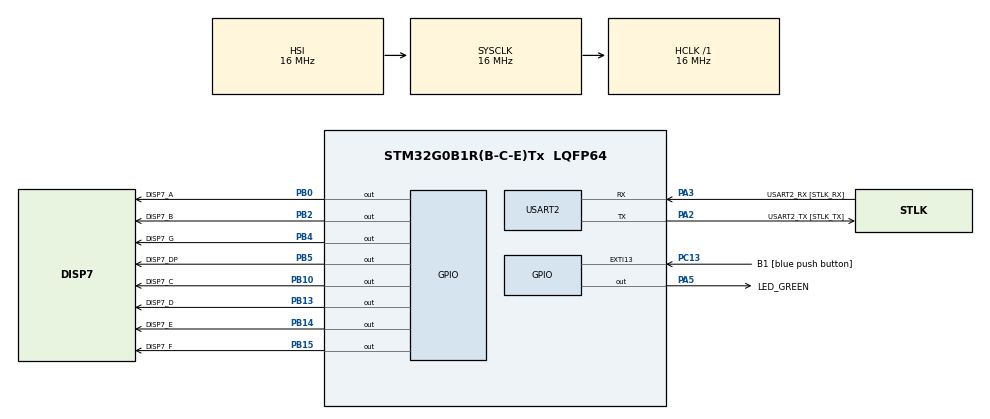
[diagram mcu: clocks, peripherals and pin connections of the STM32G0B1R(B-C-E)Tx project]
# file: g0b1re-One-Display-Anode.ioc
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Mcu.Family=STM32G0
Mcu.Name=STM32G0B1R(B-C-E)Tx
Mcu.Package=LQFP64
PA13.GPIO_Label=TMS
PA13.Mode=Serial_Wire
PA13.Signal=SYS_SWDIO
PA14-BOOT0.GPIO_Label=TCK
PA14-BOOT0.Mode=Serial_Wire
PA14-BOOT0.Signal=SYS_SWCLK
PA2.GPIO_Label=USART2_TX [STLK_TX]
PA2.Mode=Asynchronous
PA2.Signal=USART2_TX
PA3.GPIO_Label=USART2_RX [STLK_RX]
PA3.Mode=Asynchronous
PA3.Signal=USART2_RX
PA5.GPIO_Label=LED_GREEN
PA5.GPIO_Speed=GPIO_SPEED_FREQ_HIGH
PA5.Signal=GPIO_Output
PB0.GPIO_Label=DISP7_A
PB0.GPIO_ModeDefaultOutputPP=GPIO_MODE_OUTPUT_PP
PB0.GPIO_Speed=GPIO_SPEED_FREQ_MEDIUM
PB0.PinState=GPIO_PIN_SET
PB0.Signal=GPIO_Output
PB10.GPIO_Label=DISP7_C
PB10.GPIO_ModeDefaultOutputPP=GPIO_MODE_OUTPUT_PP
PB10.GPIO_Speed=GPIO_SPEED_FREQ_MEDIUM
PB10.PinState=GPIO_PIN_SET
PB10.Signal=GPIO_Output
PB13.GPIO_Label=DISP7_D
PB13.GPIO_ModeDefaultOutputPP=GPIO_MODE_OUTPUT_PP
PB13.GPIO_Speed=GPIO_SPEED_FREQ_MEDIUM
PB13.PinState=GPIO_PIN_SET
PB13.Signal=GPIO_Output
PB14.GPIO_Label=DISP7_E
PB14.GPIO_ModeDefaultOutputPP=GPIO_MODE_OUTPUT_PP
PB14.GPIO_Speed=GPIO_SPEED_FREQ_MEDIUM
PB14.PinState=GPIO_PIN_SET
PB14.Signal=GPIO_Output
PB15.GPIO_Label=DISP7_F
PB15.GPIO_ModeDefaultOutputPP=GPIO_MODE_OUTPUT_PP
PB15.GPIO_Speed=GPIO_SPEED_FREQ_MEDIUM
PB15.PinState=GPIO_PIN_SET
PB15.Signal=GPIO_Output
PB2.GPIO_Label=DISP7_B
PB2.GPIO_ModeDefaultOutputPP=GPIO_MODE_OUTPUT_PP
PB2.GPIO_Speed=GPIO_SPEED_FREQ_MEDIUM
PB2.PinState=GPIO_PIN_SET
PB2.Signal=GPIO_Output
PB4.GPIO_Label=DISP7_G
PB4.GPIO_ModeDefaultOutputPP=GPIO_MODE_OUTPUT_PP
PB4.GPIO_Speed=GPIO_SPEED_FREQ_MEDIUM
PB4.PinState=GPIO_PIN_SET
PB4.Signal=GPIO_Output
PB5.GPIO_Label=DISP7_DP
PB5.GPIO_ModeDefaultOutputPP=GPIO_MODE_OUTPUT_PP
PB5.GPIO_Speed=GPIO_SPEED_FREQ_MEDIUM
PB5.PinState=GPIO_PIN_SET
PB5.Signal=GPIO_Output
PC13.GPIO_Label=B1 [blue push button]
PC13.Signal=GPXTI13
PC14-OSC32_IN\ (PC14).Mode=LSE-External-Oscillator
PC14-OSC32_IN\ (PC14).Signal=RCC_OSC32_IN
PC15-OSC32_OUT\ (PC15).Mode=LSE-External-Oscillator
PC15-OSC32_OUT\ (PC15).Signal=RCC_OSC32_OUT
PF0-OSC_IN\ (PF0).GPIO_Label=MCO
PF0-OSC_IN\ (PF0).Mode=HSE-External-Clock-Source
PF0-OSC_IN\ (PF0).Signal=RCC_OSC_IN
ProjectManager.HeapSize=0x200
ProjectManager.StackSize=0x400
ProjectManager.TargetToolchain=STM32CubeIDE
RCC.AHBFreq_Value=16000000
RCC.CortexFreq_Value=16000000
RCC.EXTERNAL_CLOCK_VALUE=12288000
RCC.HCLKFreq_Value=16000000
RCC.HSE_VALUE=8000000
RCC.HSI48_VALUE=48000000
RCC.HSI_VALUE=16000000
RCC.SYSCLKFreq_VALUE=16000000
RCC.USBFreq_Value=48000000
RCC.VCOOutputFreq_Value=128000000
USART2.VirtualMode-Asynchronous=VM_ASYNC
board=NUCLEO-G0B1RE

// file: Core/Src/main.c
/* USER CODE BEGIN Header */
/**
  ******************************************************************************
  * @file           : main.c
  * @brief          : Main program body
  ******************************************************************************
  * @attention
  *
  * Copyright (c) 2025 STMicroelectronics.
  * All rights reserved.
  *
  * This software is licensed under terms that can be found in the LICENSE file
  * in the root directory of this software component.
  * If no LICENSE file comes with this software, it is provided AS-IS.
  *
  ******************************************************************************
  */
/* USER CODE END Header */
#include "main.h"

/* USER CODE BEGIN Includes */
#include "disp7.h"
/* USER CODE END Includes */

/* USER CODE BEGIN PD */
#define DISP7_TEST_STRING
/* USER CODE END PD */

UART_HandleTypeDef huart2;

/* USER CODE BEGIN PV */
disp7_t Disp7 = {0};
/* USER CODE END PV */

void SystemClock_Config(void);
static void MX_GPIO_Init(void);
static void MX_USART2_UART_Init(void);

/* USER CODE BEGIN 0 */
void Disp7_Write_Pin(disp7_pins_e Pin, uint8_t Value){
	switch(Pin){
	case 	DISP7_PIN_A:
		HAL_GPIO_WritePin(DISP7_A_GPIO_Port, DISP7_A_Pin, Value);
		break;
	case	DISP7_PIN_B:
		HAL_GPIO_WritePin(DISP7_B_GPIO_Port, DISP7_B_Pin, Value);
		break;
	case	DISP7_PIN_C:
		HAL_GPIO_WritePin(DISP7_C_GPIO_Port, DISP7_C_Pin, Value);
		break;
	case	DISP7_PIN_D:
		HAL_GPIO_WritePin(DISP7_D_GPIO_Port, DISP7_D_Pin, Value);
		break;
	case	DISP7_PIN_E:
		HAL_GPIO_WritePin(DISP7_E_GPIO_Port, DISP7_E_Pin, Value);
		break;
	case	DISP7_PIN_F:
		HAL_GPIO_WritePin(DISP7_F_GPIO_Port, DISP7_F_Pin, Value);
		break;
	case	DISP7_PIN_G:
		HAL_GPIO_WritePin(DISP7_G_GPIO_Port, DISP7_G_Pin, Value);
		break;
	case	DISP7_PIN_dp:
		HAL_GPIO_WritePin(DISP7_DP_GPIO_Port, DISP7_DP_Pin, Value);
		break;
	default:

		break;
	}
}
/* USER CODE END 0 */

int main(void)
{

  /* USER CODE BEGIN 1 */
	disp7_params_t Disp7Params;

#ifdef DISP7_TEST_STRING
	char CharToShow = '0';
#else
	uint8_t ValueToShow = 0;
#endif
  /* USER CODE END 1 */

  /* MCU Configuration--------------------------------------------------------*/

  /* Reset of all peripherals, Initializes the Flash interface and the Systick. */
  HAL_Init();

  /* Configure the system clock */
  SystemClock_Config();

  /* Initialize all configured peripherals */
  MX_GPIO_Init();
  MX_USART2_UART_Init();
  /* USER CODE BEGIN 2 */
  Disp7Params.WriteToPinFxn = Disp7_Write_Pin;
  Disp7Params.eType = DISP7_COMMON_ANODE;

  disp7_init(&Disp7, &Disp7Params);
  /* USER CODE END 2 */

  /* Infinite loop */
  /* USER CODE BEGIN WHILE */
  while (1)
  {
#ifdef DISP7_TEST_STRING
	  disp7_print_number_from_char(&Disp7, CharToShow);
	  if (CharToShow % 2){
		  disp7_print_number_from_char(&Disp7, '.');
	  }
	  CharToShow++;
	  if (CharToShow > '9'){
		  CharToShow = '0';
	  }
	  HAL_Delay(500);
#else
	  disp7_print_number(&Disp7, ValueToShow, ValueToShow % 2);
	  // We test the case where a number is not defined, to clear the display
	  ValueToShow = (ValueToShow + 1) % 0x11;
	  HAL_Delay(500);
#endif
    /* USER CODE END WHILE */

  }
}

void SystemClock_Config(void)
{
  RCC_OscInitTypeDef RCC_OscInitStruct = {0};
  RCC_ClkInitTypeDef RCC_ClkInitStruct = {0};

  /** Configure the main internal regulator output voltage
  */
  HAL_PWREx_ControlVoltageScaling(PWR_REGULATOR_VOLTAGE_SCALE1);

  /** Initializes the RCC Oscillators according to the specified parameters
  * in the RCC_OscInitTypeDef structure.
  */
  RCC_OscInitStruct.OscillatorType = RCC_OSCILLATORTYPE_HSI;
  RCC_OscInitStruct.HSIState = RCC_HSI_ON;
  RCC_OscInitStruct.HSIDiv = RCC_HSI_DIV1;
  RCC_OscInitStruct.HSICalibrationValue = RCC_HSICALIBRATION_DEFAULT;
  RCC_OscInitStruct.PLL.PLLState = RCC_PLL_NONE;
  if (HAL_RCC_OscConfig(&RCC_OscInitStruct) != HAL_OK)
  {
    Error_Handler();
  }

  /** Initializes the CPU, AHB and APB buses clocks
  */
  RCC_ClkInitStruct.ClockType = RCC_CLOCKTYPE_HCLK|RCC_CLOCKTYPE_SYSCLK
                              |RCC_CLOCKTYPE_PCLK1;
  RCC_ClkInitStruct.SYSCLKSource = RCC_SYSCLKSOURCE_HSI;
  RCC_ClkInitStruct.AHBCLKDivider = RCC_SYSCLK_DIV1;
  RCC_ClkInitStruct.APB1CLKDivider = RCC_HCLK_DIV1;

  if (HAL_RCC_ClockConfig(&RCC_ClkInitStruct, FLASH_LATENCY_0) != HAL_OK)
  {
    Error_Handler();
  }
}

static void MX_USART2_UART_Init(void)
{

  huart2.Instance = USART2;
  huart2.Init.BaudRate = 115200;
  huart2.Init.WordLength = UART_WORDLENGTH_8B;
  huart2.Init.StopBits = UART_STOPBITS_1;
  huart2.Init.Parity = UART_PARITY_NONE;
  huart2.Init.Mode = UART_MODE_TX_RX;
  huart2.Init.HwFlowCtl = UART_HWCONTROL_NONE;
  huart2.Init.OverSampling = UART_OVERSAMPLING_16;
  huart2.Init.OneBitSampling = UART_ONE_BIT_SAMPLE_DISABLE;
  huart2.Init.ClockPrescaler = UART_PRESCALER_DIV1;
  huart2.AdvancedInit.AdvFeatureInit = UART_ADVFEATURE_NO_INIT;
  if (HAL_UART_Init(&huart2) != HAL_OK)
  {
    Error_Handler();
  }
  if (HAL_UARTEx_SetTxFifoThreshold(&huart2, UART_TXFIFO_THRESHOLD_1_8) != HAL_OK)
  {
    Error_Handler();
  }
  if (HAL_UARTEx_SetRxFifoThreshold(&huart2, UART_RXFIFO_THRESHOLD_1_8) != HAL_OK)
  {
    Error_Handler();
  }
  if (HAL_UARTEx_DisableFifoMode(&huart2) != HAL_OK)
  {
    Error_Handler();
  }

}

static void MX_GPIO_Init(void)
{
  GPIO_InitTypeDef GPIO_InitStruct = {0};

  /* GPIO Ports Clock Enable */
  __HAL_RCC_GPIOC_CLK_ENABLE();
  __HAL_RCC_GPIOF_CLK_ENABLE();
  __HAL_RCC_GPIOA_CLK_ENABLE();
  __HAL_RCC_GPIOB_CLK_ENABLE();

  /*Configure GPIO pin Output Level */
  HAL_GPIO_WritePin(LED_GREEN_GPIO_Port, LED_GREEN_Pin, GPIO_PIN_RESET);

  /*Configure GPIO pin Output Level */
  HAL_GPIO_WritePin(GPIOB, DISP7_A_Pin|DISP7_B_Pin|DISP7_C_Pin|DISP7_D_Pin
                          |DISP7_E_Pin|DISP7_F_Pin|DISP7_G_Pin|DISP7_DP_Pin, GPIO_PIN_SET);

  /*Configure GPIO pin : B1_Pin */
  GPIO_InitStruct.Pin = B1_Pin;
  GPIO_InitStruct.Mode = GPIO_MODE_IT_RISING;
  GPIO_InitStruct.Pull = GPIO_NOPULL;
  HAL_GPIO_Init(B1_GPIO_Port, &GPIO_InitStruct);

  /*Configure GPIO pin : LED_GREEN_Pin */
  GPIO_InitStruct.Pin = LED_GREEN_Pin;
  GPIO_InitStruct.Mode = GPIO_MODE_OUTPUT_PP;
  GPIO_InitStruct.Pull = GPIO_NOPULL;
  GPIO_InitStruct.Speed = GPIO_SPEED_FREQ_HIGH;
  HAL_GPIO_Init(LED_GREEN_GPIO_Port, &GPIO_InitStruct);

  /*Configure GPIO pins : DISP7_A_Pin DISP7_B_Pin DISP7_C_Pin DISP7_D_Pin
                           DISP7_E_Pin DISP7_F_Pin DISP7_G_Pin DISP7_DP_Pin */
  GPIO_InitStruct.Pin = DISP7_A_Pin|DISP7_B_Pin|DISP7_C_Pin|DISP7_D_Pin
                          |DISP7_E_Pin|DISP7_F_Pin|DISP7_G_Pin|DISP7_DP_Pin;
  GPIO_InitStruct.Mode = GPIO_MODE_OUTPUT_PP;
  GPIO_InitStruct.Pull = GPIO_NOPULL;
  GPIO_InitStruct.Speed = GPIO_SPEED_FREQ_MEDIUM;
  HAL_GPIO_Init(GPIOB, &GPIO_InitStruct);

}

void Error_Handler(void)
{
  __disable_irq();
  while (1)
  {
  }
}
